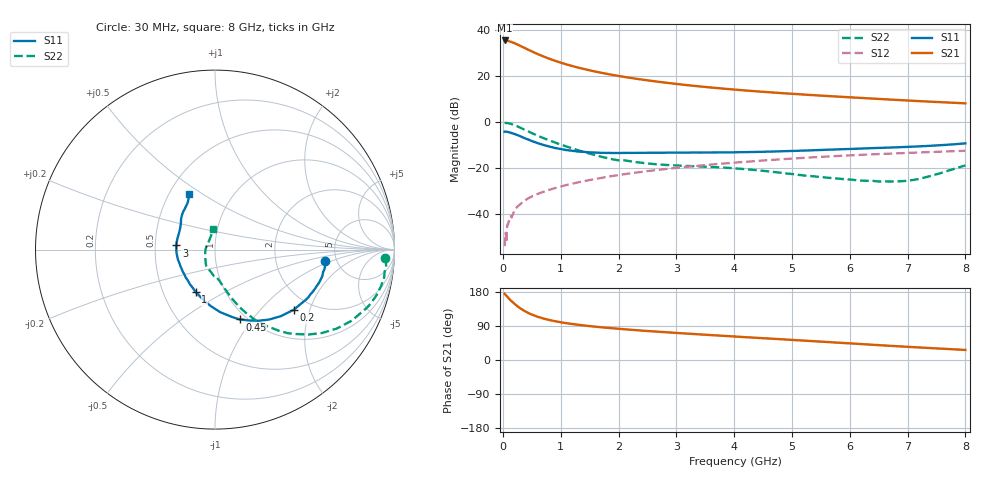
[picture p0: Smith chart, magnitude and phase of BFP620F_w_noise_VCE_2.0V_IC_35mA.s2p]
! Infineon Technologies  Discrete & RF Semiconductors
! BFP620F
! VCE =  2.0 V,  IC =  35 mA
! Common Emitter S-Parameters:  Dec 2014
# GHz  S  MA  R  50
!  f  S11  S21  S12  S22
! GHz  MAG  ANG  MAG  ANG  MAG  ANG  MAG  ANG
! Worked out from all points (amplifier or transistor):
!   95 points, 30 MHz to 8 GHz, reference 50 ohm
!   highest |S21| = 35.5 dB at 30 MHz (marker M1)
!   |S21| within 3 dB of that: start of sweep to 354.5 MHz
!   unconditionally stable (mu >= 1): 2.289 GHz to end of sweep
!   at 300 MHz: K = 0.42, MSG = 34.5 dB, |S12| = -35.8 dB
!   at 3.3 GHz: K = 1.03, MAG = 16.5 dB, |S12| = -19.2 dB
!   at 8 GHz: K = 1.06, MAG = 8.9 dB, |S12| = -12.5 dB
!   lowest NFmin = 1.25 dB at 450 MHz
!   S11 on the Smith chart (normalised r, x): 30 MHz: 4.05, -0.85; 200 MHz: 1.62, -1.57; 450 MHz: 0.93, -0.87; 1 GHz: 0.73, -0.37; 3 GHz: 0.65, +0.03; 8 GHz: 0.62, +0.44
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0.03  0.6178 -6.0  59.56 174.9  0.002 87.6  0.9503 -2.8
0.07  0.6159 -14.0  58.9 168.0  0.0048 86.7  0.9555 -9.3
0.11  0.5976 -21.7  57.16 161.3  0.0071 78.2  0.936 -15.5
0.15  0.5782 -28.9  55.11 155.3  0.0084 75.7  0.905 -21.1
0.2  0.5517 -37.5  51.98 148.4  0.0119 72.8  0.8582 -27.5
0.25  0.5217 -45.3  48.83 142.0  0.0145 72.5  0.8082 -33.0
0.3  0.4923 -52.4  45.61 136.5  0.0163 71.1  0.7562 -37.9
0.35  0.4624 -59.1  42.43 131.6  0.0185 69.7  0.7056 -42.1
0.45  0.4124 -70.6  36.91 123.4  0.0224 68.4  0.617 -49.0
0.5  0.3873 -75.8  34.45 120.0  0.0241 67.7  0.5768 -51.7
0.6  0.3491 -85.4  30.21 114.2  0.0273 66.1  0.5064 -56.5
0.7  0.318 -93.5  26.78 109.5  0.0304 66.9  0.4489 -60.4
0.8  0.2942 -101.2  23.92 105.7  0.0336 66.6  0.4009 -63.4
1  0.2595 -114.5  19.63 99.6  0.0395 66.3  0.3251 -68.3
1.4  0.2249 -136.5  14.29 91.2  0.0519 65.7  0.2245 -76.0
2  0.2123 -160.9  10.08 82.4  0.0703 64.1  0.1474 -88.7
2.7  0.2156 -179.6  7.493 74.5  0.0918 61.1  0.1198 -104.4
3  0.2166 173.8  6.754 71.4  0.1009 59.5  0.1142 -109.6
4.1  0.2212 155.1  4.976 61.1  0.1338 53.3  0.0967 -121.6
5.4  0.2446 140.9  3.829 49.3  0.1722 45.0  0.0657 -145.9
6.7  0.2793 128.1  3.086 37.4  0.206 35.8  0.051 158.6
8  0.3439 115.2  2.556 26.5  0.2377 26.9  0.1142 96.1
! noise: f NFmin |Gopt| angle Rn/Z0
0.45  1.25  0.11  -173  0.16
0.9  1.28  0.11  -172  0.13
1.5  1.29  0.16  -150  0.12
1.8  1.3  0.16  -150  0.13
1.9  1.3  0.16  -149  0.13
2.4  1.32  0.17  215  0.15
3.5  1.38  0.18  220  0.18
5.5  1.52  0.24  245  0.15
6  1.56  0.25  260  0.17
